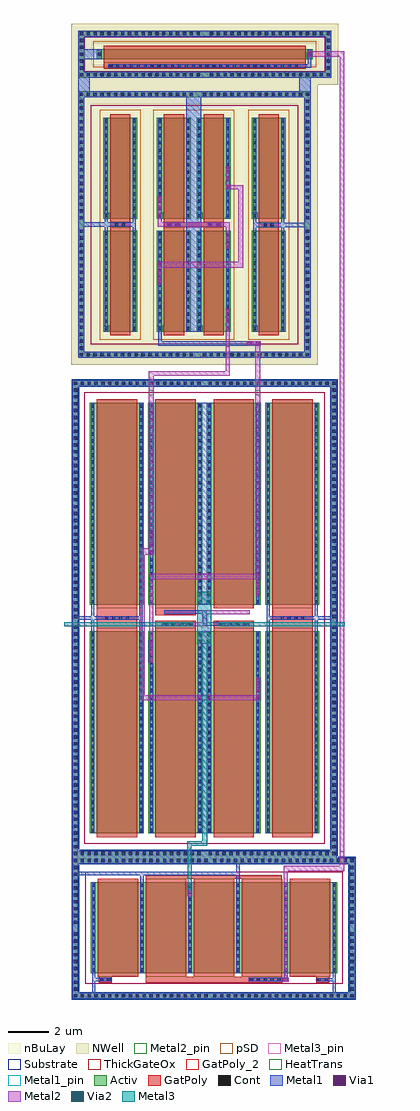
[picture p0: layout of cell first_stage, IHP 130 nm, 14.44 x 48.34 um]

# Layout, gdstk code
from math import pi, radians
import gdstk
lib = gdstk.Library(unit=1e-6, precision=1e-09)
def R(c, l, rs):  # rectangles x0, y0, x1, y1
    for r in rs: c.add(gdstk.rectangle(r[:2], r[2:], *l))
def A(c, l, x, y, w, h, nx, ny, dx, dy):  # array of equal rectangles
    R(c, l, [(x+i*dx, y+j*dy, x+i*dx+w, y+j*dy+h) for i in range(nx) for j in range(ny)])
def P(c, l, *ps):  # polygons
    for p in ps: c.add(gdstk.Polygon(p, *l))
Activ = (1, 0)
GatPoly = (5, 0)
GatPoly_2 = (5, 2)
Cont = (6, 0)
Metal1 = (8, 0)
Metal1_pin = (8, 2)
Metal2 = (10, 0)
Metal2_pin = (10, 2)
pSD = (14, 0)
Via1 = (19, 0)
Via2 = (29, 0)
Metal3 = (30, 0)
Metal3_pin = (30, 2)
NWell = (31, 0)
nBuLay = (32, 0)
Substrate = (40, 0)
ThickGateOx = (44, 0)
HeatTrans = (51, 0)

pmoshv_1_1 = lib.new_cell('pmosHV$1$1')
R(pmoshv_1_1, Activ, [(0,0,0.3,0.3), (0,0,1.68,5), (1.38,0,1.68,0.3)])
R(pmoshv_1_1, GatPoly, [(0.34,-0.18,1.34,5.18)])
R(pmoshv_1_1, GatPoly_2, [(0.34,-0.18,1.34,5.18)])
A(pmoshv_1_1, Cont, 0.07, 0.07, 0.16, 0.16, 1, 4, 0, 0.36)
A(pmoshv_1_1, Cont, 1.45, 0.07, 0.16, 0.16, 1, 4, 0, 0.36)
A(pmoshv_1_1, Cont, 0.07, 1.515, 0.16, 0.16, 1, 3, 0, 0.36)
A(pmoshv_1_1, Cont, 1.45, 1.515, 0.16, 0.16, 1, 3, 0, 0.36)
A(pmoshv_1_1, Cont, 0.07, 2.6, 0.16, 0.16, 1, 3, 0, 0.36)
A(pmoshv_1_1, Cont, 1.45, 2.6, 0.16, 0.16, 1, 3, 0, 0.36)
A(pmoshv_1_1, Cont, 0.07, 3.685, 0.16, 0.16, 1, 3, 0, 0.36)
A(pmoshv_1_1, Cont, 1.45, 3.685, 0.16, 0.16, 1, 3, 0, 0.36)
R(pmoshv_1_1, Cont, [(0.07,4.77,0.23,4.93), (1.45,4.77,1.61,4.93)])
R(pmoshv_1_1, Metal1, [(0.07,0,0.23,5), (1.45,0,1.61,5)])
R(pmoshv_1_1, Metal1_pin, [(0.07,0,0.23,5), (1.45,0,1.61,5)])
R(pmoshv_1_1, pSD, [(-0.18,-0.4,1.86,5.4)])
R(pmoshv_1_1, NWell, [(-0.62,-0.62,2.3,5.62)])
R(pmoshv_1_1, Substrate, [(1.38,0,1.68,0.3)])
R(pmoshv_1_1, ThickGateOx, [(-0.62,-0.62,2.3,5.62)])
R(pmoshv_1_1, HeatTrans, [(0.34,-0.18,1.34,5.18)])
pmoshv_1_1.add(gdstk.Label('pmosHV', (0.84,2.5), layer=63, texttype=0))
pmoshv_1_1.add(gdstk.Label('pmos', (0.84,2.5), layer=51, texttype=0))

via_stack_7_1 = lib.new_cell('via_stack$7$1')
R(via_stack_7_1, Metal1, [(-0.105,-0.555,0.105,0.555)])
R(via_stack_7_1, Metal2, [(-0.1,-0.555,0.1,0.555)])
A(via_stack_7_1, Via1, -0.095, -0.505, 0.19, 0.19, 1, 3, 0, 0.41)

via_stack_18_1 = lib.new_cell('via_stack$18$1')
R(via_stack_18_1, Metal1, [(-0.105,-0.35,0.105,0.35)])
R(via_stack_18_1, Metal2, [(-0.1,-0.35,0.1,0.35)])
R(via_stack_18_1, Via1, [(-0.095,-0.3,0.095,-0.11), (-0.095,0.11,0.095,0.3)])

via_stack_9_1 = lib.new_cell('via_stack$9$1')
R(via_stack_9_1, GatPoly, [(-0.32,-0.15,0.32,0.15)])
R(via_stack_9_1, Cont, [(-0.25,-0.08,-0.09,0.08), (0.09,-0.08,0.25,0.08)])
R(via_stack_9_1, Metal1, [(-0.35,-0.105,0.35,0.105)])
R(via_stack_9_1, Metal2, [(-0.35,-0.1,0.35,0.1)])
R(via_stack_9_1, Via1, [(-0.3,-0.095,-0.11,0.095), (0.11,-0.095,0.3,0.095)])

guard_ring_3_1 = lib.new_cell('guard_ring$3$1')
R(guard_ring_3_1, Activ, [(-5.75,-6.3,-5.45,6.3), (5.45,-6.3,5.75,6.3), (-5.75,6.3,5.75,6.6)])
P(guard_ring_3_1, Activ, [(-5.75,-6.6),(-5.75,6.3),(-5.45,6.3),(-5.45,-6.3),(5.45,-6.3),(5.45,6.3),(-5.75,6.3),(-5.75,6.6),(5.75,6.6),(5.75,-6.6)])
A(guard_ring_3_1, Cont, -5.68, -6.53, 0.16, 0.16, 16, 2, 0.34, 12.9)
A(guard_ring_3_1, Cont, 0.08, -6.53, 0.16, 0.16, 17, 2, 0.34, 12.9)
A(guard_ring_3_1, Cont, -5.68, -6.19, 0.16, 0.16, 1, 18, 0, 0.34)
A(guard_ring_3_1, Cont, 5.52, -6.19, 0.16, 0.16, 1, 18, 0, 0.34)
A(guard_ring_3_1, Cont, -5.68, 0.25, 0.16, 0.16, 1, 18, 0, 0.34)
A(guard_ring_3_1, Cont, 5.52, 0.25, 0.16, 0.16, 1, 18, 0, 0.34)
R(guard_ring_3_1, Metal1, [(-5.75,-6.6,5.75,-6.3), (-5.75,-6.3,-5.45,6.3), (5.45,-6.3,5.75,6.3), (-5.75,6.3,5.75,6.6)])
R(guard_ring_3_1, NWell, [(-6.1,-6.95,6.1,6.95)])
R(guard_ring_3_1, nBuLay, [(-6.1,-5.95,-5.1,5.95), (5.1,-5.95,6.1,5.95), (-6.1,5.95,6.1,6.95)])
P(guard_ring_3_1, nBuLay, [(-6.1,-6.95),(-6.1,5.95),(-5.1,5.95),(-5.1,-5.95),(5.1,-5.95),(5.1,5.95),(-6.1,5.95),(-6.1,6.95),(6.1,6.95),(6.1,-6.95)])
guard_ring_3_1.add(gdstk.Label('well', (0,-6.45), layer=63, texttype=0))

via_stack_5_1 = lib.new_cell('via_stack$5$1')
R(via_stack_5_1, GatPoly, [(-0.32,-0.15,0.32,0.15)])
R(via_stack_5_1, Cont, [(-0.25,-0.08,-0.09,0.08), (0.09,-0.08,0.25,0.08)])
R(via_stack_5_1, Metal1, [(-0.3,-0.08,0.3,0.08)])

current_mirror = lib.new_cell('current_mirror')
R(current_mirror, GatPoly, [(-2.885,-0.54,-1.885,-0.315), (-0.225,-0.54,2.745,-0.315), (4.475,-0.54,5.475,-0.315)])
R(current_mirror, Metal1, [(0.885,-5.72,1.635,6.185), (-3.155,-0.72,-2.995,-0.135), (-1.775,-0.72,-1.615,-0.135), (4.205,-0.72,4.365,-0.135), (5.585,-0.72,5.745,-0.135), (4.205,-0.54,7.04,-0.32), (-4.46,-0.535,-1.615,-0.315)])
R(current_mirror, Metal2, [(2.845,-6.475,3.045,-4.575), (-0.535,-2.565,3.705,-2.255), (3.47,-2.565,3.705,1.53), (2.845,-1.62,3.045,-0.315), (-0.53,-0.535,3.045,-0.315), (-0.53,-0.535,-0.33,-0.13), (2.845,1.325,3.705,1.53)])
R(current_mirror, Metal2_pin, [(2.845,-6.475,3.045,-6.215)])
current_mirror.add(gdstk.Reference(pmoshv_1_1, (3.085,-0.135), rotation=pi, x_reflection=True))
current_mirror.add(gdstk.Reference(pmoshv_1_1, (1.115,-0.135), rotation=pi, x_reflection=True))
current_mirror.add(gdstk.Reference(pmoshv_1_1, (3.085,-5.72), rotation=pi, x_reflection=True))
current_mirror.add(gdstk.Reference(pmoshv_1_1, (1.115,-5.72), rotation=pi, x_reflection=True))
current_mirror.add(gdstk.Reference(via_stack_7_1, (-0.43,0.425), rotation=pi, x_reflection=True))
current_mirror.add(gdstk.Reference(via_stack_18_1, (2.945,-1.27), rotation=pi, x_reflection=True))
current_mirror.add(gdstk.Reference(via_stack_9_1, (2.27,-0.43), rotation=pi, x_reflection=True))
current_mirror.add(gdstk.Reference(via_stack_9_1, (0.26,-0.43), rotation=pi, x_reflection=True))
current_mirror.add(gdstk.Reference(via_stack_7_1, (-0.43,-2.81), rotation=pi, x_reflection=True))
current_mirror.add(gdstk.Reference(via_stack_7_1, (2.945,1.88), rotation=pi, x_reflection=True))
current_mirror.add(gdstk.Reference(guard_ring_3_1, (1.29,-0.415), rotation=pi, x_reflection=True))
current_mirror.add(gdstk.Reference(pmoshv_1_1, (-1.545,-0.135), rotation=pi, x_reflection=True))
current_mirror.add(gdstk.Reference(pmoshv_1_1, (5.815,-0.135), rotation=pi, x_reflection=True))
current_mirror.add(gdstk.Reference(pmoshv_1_1, (-1.545,-5.72), rotation=pi, x_reflection=True))
current_mirror.add(gdstk.Reference(pmoshv_1_1, (5.815,-5.72), rotation=pi, x_reflection=True))
current_mirror.add(gdstk.Reference(via_stack_5_1, (4.965,-0.43), rotation=pi, x_reflection=True))
current_mirror.add(gdstk.Reference(via_stack_5_1, (-2.395,-0.43), rotation=pi, x_reflection=True))
current_mirror.add(gdstk.Reference(via_stack_7_1, (2.945,-5.13), rotation=pi, x_reflection=True))
current_mirror.add(gdstk.Label('vdd', (1.025,6.115), layer=8, texttype=2))
current_mirror.add(gdstk.Label('dmv', (3.045,-6.475), layer=10, texttype=2))

via_stack_35 = lib.new_cell('via_stack$35')
R(via_stack_35, GatPoly, [(-0.15,-0.66,0.15,0.66)])
A(via_stack_35, Cont, -0.08, -0.59, 0.16, 0.16, 1, 4, 0, 0.34)
R(via_stack_35, Metal1, [(-0.105,-0.76,0.105,0.76)])
R(via_stack_35, Metal2, [(-0.1,-0.76,0.1,0.76)])
A(via_stack_35, Via1, -0.095, -0.71, 0.19, 0.19, 1, 4, 0, 0.41)
A(via_stack_35, Via2, -0.095, -0.71, 0.19, 0.19, 1, 4, 0, 0.41)
R(via_stack_35, Metal3, [(-0.1,-0.76,0.1,0.76)])

guard_ring_11 = lib.new_cell('guard_ring$11')
R(guard_ring_11, Activ, [(-6.55,-11.5,-6.25,11.5), (6.25,-11.5,6.55,11.5), (-6.55,11.5,6.55,11.8)])
P(guard_ring_11, Activ, [(-6.55,-11.8),(-6.55,11.5),(-6.25,11.5),(-6.25,-11.5),(6.25,-11.5),(6.25,11.5),(-6.55,11.5),(-6.55,11.8),(6.55,11.8),(6.55,-11.8)])
A(guard_ring_11, Cont, -6.48, -11.73, 0.16, 0.16, 19, 2, 0.34, 23.3)
A(guard_ring_11, Cont, 0.2, -11.73, 0.16, 0.16, 19, 2, 0.34, 23.3)
A(guard_ring_11, Cont, -6.48, -11.39, 0.16, 0.16, 1, 33, 0, 0.34)
A(guard_ring_11, Cont, 6.32, -11.39, 0.16, 0.16, 1, 33, 0, 0.34)
A(guard_ring_11, Cont, -6.48, 0.01, 0.16, 0.16, 1, 34, 0, 0.34)
A(guard_ring_11, Cont, 6.32, 0.01, 0.16, 0.16, 1, 34, 0, 0.34)
R(guard_ring_11, Metal1, [(-6.55,-11.8,6.55,-11.5), (-6.55,-11.5,-6.25,11.5), (6.25,-11.5,6.55,11.5), (-6.55,11.5,6.55,11.8)])
R(guard_ring_11, pSD, [(-6.58,-11.47,-6.22,11.47), (6.22,-11.47,6.58,11.47), (-6.58,11.47,6.58,11.83)])
P(guard_ring_11, pSD, [(-6.58,-11.83),(-6.58,11.47),(-6.22,11.47),(-6.22,-11.47),(6.22,-11.47),(6.22,11.47),(-6.58,11.47),(-6.58,11.83),(6.58,11.83),(6.58,-11.83)])
R(guard_ring_11, Substrate, [(-6.58,-11.47,-6.22,11.47), (6.22,-11.47,6.58,11.47), (-6.58,11.47,6.58,11.83)])
P(guard_ring_11, Substrate, [(-6.58,-11.83),(-6.58,11.47),(-6.22,11.47),(-6.22,-11.47),(6.22,-11.47),(6.22,11.47),(-6.58,11.47),(-6.58,11.83),(6.58,11.83),(6.58,-11.83)])
guard_ring_11.add(gdstk.Label('sub!', (0,-11.65), layer=63, texttype=0))

via_stack_2_1 = lib.new_cell('via_stack$2$1')
R(via_stack_2_1, GatPoly, [(-0.66,-0.15,0.66,0.15)])
A(via_stack_2_1, Cont, -0.59, -0.08, 0.16, 0.16, 4, 1, 0.34, 0)
R(via_stack_2_1, Metal1, [(-0.64,-0.08,0.64,0.08)])

nmoshv_1_1 = lib.new_cell('nmosHV$1$1')
R(nmoshv_1_1, Activ, [(0,0,0.3,0.3), (0,0,2.68,10), (2.38,0,2.68,0.3)])
R(nmoshv_1_1, GatPoly, [(0.34,-0.18,2.34,10.18)])
R(nmoshv_1_1, GatPoly_2, [(0.34,-0.18,2.34,10.18)])
A(nmoshv_1_1, Cont, 0.07, 0.07, 0.16, 0.16, 1, 4, 0, 0.345)
A(nmoshv_1_1, Cont, 2.45, 0.07, 0.16, 0.16, 1, 4, 0, 0.345)
A(nmoshv_1_1, Cont, 0.07, 1.455, 0.16, 0.16, 1, 3, 0, 0.345)
A(nmoshv_1_1, Cont, 2.45, 1.455, 0.16, 0.16, 1, 3, 0, 0.345)
A(nmoshv_1_1, Cont, 0.07, 2.495, 0.16, 0.16, 1, 4, 0, 0.345)
A(nmoshv_1_1, Cont, 2.45, 2.495, 0.16, 0.16, 1, 4, 0, 0.345)
A(nmoshv_1_1, Cont, 0.07, 3.88, 0.16, 0.16, 1, 3, 0, 0.345)
A(nmoshv_1_1, Cont, 2.45, 3.88, 0.16, 0.16, 1, 3, 0, 0.345)
A(nmoshv_1_1, Cont, 0.07, 4.92, 0.16, 0.16, 1, 4, 0, 0.345)
A(nmoshv_1_1, Cont, 2.45, 4.92, 0.16, 0.16, 1, 4, 0, 0.345)
A(nmoshv_1_1, Cont, 0.07, 6.305, 0.16, 0.16, 1, 3, 0, 0.345)
A(nmoshv_1_1, Cont, 2.45, 6.305, 0.16, 0.16, 1, 3, 0, 0.345)
A(nmoshv_1_1, Cont, 0.07, 7.345, 0.16, 0.16, 1, 4, 0, 0.345)
A(nmoshv_1_1, Cont, 2.45, 7.345, 0.16, 0.16, 1, 4, 0, 0.345)
A(nmoshv_1_1, Cont, 0.07, 8.73, 0.16, 0.16, 1, 3, 0, 0.345)
A(nmoshv_1_1, Cont, 2.45, 8.73, 0.16, 0.16, 1, 3, 0, 0.345)
R(nmoshv_1_1, Cont, [(0.07,9.77,0.23,9.93), (2.45,9.77,2.61,9.93)])
R(nmoshv_1_1, Metal1, [(0.07,0,0.23,10), (2.45,0,2.61,10)])
R(nmoshv_1_1, Metal1_pin, [(0.07,0,0.23,10), (2.45,0,2.61,10)])
R(nmoshv_1_1, ThickGateOx, [(-0.27,-0.52,2.95,10.52)])
R(nmoshv_1_1, HeatTrans, [(0.34,-0.18,2.34,10.18)])
nmoshv_1_1.add(gdstk.Label('nmosHV', (1.34,5), layer=63, texttype=0))
nmoshv_1_1.add(gdstk.Label('nmosHV', (1.34,5), layer=51, texttype=0))

via_stack_4_1 = lib.new_cell('via_stack$4$1')
R(via_stack_4_1, Metal1, [(-0.35,-0.31,0.35,0.31)])
R(via_stack_4_1, Metal2, [(-0.35,-0.305,0.35,0.305)])
R(via_stack_4_1, Via1, [(-0.3,-0.3,-0.11,-0.11), (0.11,-0.3,0.3,-0.11), (-0.3,0.11,-0.11,0.3), (0.11,0.11,0.3,0.3)])
R(via_stack_4_1, Via2, [(-0.3,-0.3,-0.11,-0.11), (0.11,-0.3,0.3,-0.11), (-0.3,0.11,-0.11,0.3), (0.11,0.11,0.3,0.3)])
R(via_stack_4_1, Metal3, [(-0.35,-0.305,0.35,0.305)])

via_stack_36 = lib.new_cell('via_stack$36')
R(via_stack_36, GatPoly, [(-0.66,-0.15,0.66,0.15)])
A(via_stack_36, Cont, -0.59, -0.08, 0.16, 0.16, 4, 1, 0.34, 0)
R(via_stack_36, Metal1, [(-0.76,-0.105,0.76,0.105)])
R(via_stack_36, Metal2, [(-0.76,-0.1,0.76,0.1)])
A(via_stack_36, Via1, -0.71, -0.095, 0.19, 0.19, 4, 1, 0.41, 0)
A(via_stack_36, Via2, -0.71, -0.095, 0.19, 0.19, 4, 1, 0.41, 0)
R(via_stack_36, Metal3, [(-0.76,-0.1,0.76,0.1)])

diff_pairs = lib.new_cell('diff_pairs')
R(diff_pairs, GatPoly, [(-1.775,10.885,0.225,11.85), (1.125,10.885,3.125,11.225), (4.015,10.885,6.015,11.225), (6.915,10.885,8.915,11.85), (4.015,10.9,6.015,11.24), (4.01,11.51,6.01,11.85)])
R(diff_pairs, Metal1, [(3.235,0.705,3.905,10.705), (-2.045,10.705,-1.885,12.03), (0.335,10.705,0.495,12.03), (6.645,10.705,6.805,12.03), (9.025,10.705,9.185,12.03), (3.465,10.97,3.66,11.745), (1.36,10.995,3.66,11.155), (-2.935,11.295,-2.045,11.455), (-2.045,11.295,0.495,11.455), (6.645,11.295,7.265,11.455), (8.545,11.295,9.185,11.455), (9.185,11.295,10.065,11.455), (3.465,11.575,5.575,11.755), (3.235,12.03,3.905,22.03)])
R(diff_pairs, Metal2, [(0.81,7.31,1.03,7.545), (0.815,7.31,6.73,7.545), (6.53,7.31,6.73,14.82), (6.12,10.03,6.32,13.56), (3.445,10.97,5.685,11.17), (3.445,10.97,3.685,11.765), (1.34,11.565,3.685,11.765), (0.805,13.3,1.065,22.66), (0.805,13.3,6.32,13.56), (6.09,14.5,6.335,22.64), (6.12,14.5,6.73,14.82)])
R(diff_pairs, Metal2_pin, [(0.805,22.405,1.065,22.66), (6.09,22.405,6.335,22.64)])
R(diff_pairs, Metal3, [(3.235,10.09,3.935,12.665), (4.275,10.96,10.52,11.17), (-3.375,10.97,2.88,11.17)])
R(diff_pairs, Metal3_pin, [(3.4,10.715,3.73,10.915), (-3.375,10.97,-3.09,11.17)])
R(diff_pairs, ThickGateOx, [(-2.385,10.55,9.525,12.26)])
diff_pairs.add(gdstk.Reference(via_stack_35, (2.12,11.07), rotation=pi/2))
diff_pairs.add(gdstk.Reference(guard_ring_11, (3.565,11.355)))
diff_pairs.add(gdstk.Reference(via_stack_2_1, (7.905,11.375)))
diff_pairs.add(gdstk.Reference(via_stack_2_1, (-0.785,11.375)))
diff_pairs.add(gdstk.Reference(nmoshv_1_1, (-2.115,0.705)))
diff_pairs.add(gdstk.Reference(nmoshv_1_1, (-2.115,12.03)))
diff_pairs.add(gdstk.Reference(nmoshv_1_1, (6.575,0.705)))
diff_pairs.add(gdstk.Reference(nmoshv_1_1, (6.575,12.025)))
diff_pairs.add(gdstk.Reference(nmoshv_1_1, (3.675,12.03)))
diff_pairs.add(gdstk.Reference(via_stack_7_1, (6.22,15.055)))
diff_pairs.add(gdstk.Reference(via_stack_7_1, (0.915,7.865)))
diff_pairs.add(gdstk.Reference(via_stack_7_1, (6.22,9.705)))
diff_pairs.add(gdstk.Reference(via_stack_7_1, (0.935,13.03)))
diff_pairs.add(gdstk.Reference(via_stack_4_1, (3.585,10.395)))
diff_pairs.add(gdstk.Reference(via_stack_4_1, (3.585,12.36)))
diff_pairs.add(gdstk.Reference(via_stack_36, (4.925,11.065), rotation=pi))
diff_pairs.add(gdstk.Reference(nmoshv_1_1, (0.785,0.705)))
diff_pairs.add(gdstk.Reference(nmoshv_1_1, (3.675,0.705)))
diff_pairs.add(gdstk.Reference(nmoshv_1_1, (0.785,12.03)))
diff_pairs.add(gdstk.Label('vss', (3.925,23.09), layer=8, texttype=2))
diff_pairs.add(gdstk.Label('dmr', (0.88,22.66), layer=10, texttype=2))
diff_pairs.add(gdstk.Label('dmv', (6.21,22.64), layer=10, texttype=2))
diff_pairs.add(gdstk.Label('vn1v2', (-3.315,11.02), layer=30, texttype=2))
diff_pairs.add(gdstk.Label('d_t', (3.46,10.915), layer=30, texttype=2))

via_stack_16 = lib.new_cell('via_stack$16')
R(via_stack_16, Metal1, [(-0.145,-0.105,0.145,0.105)])
R(via_stack_16, Metal2, [(-0.145,-0.1,0.145,0.1)])
R(via_stack_16, Via1, [(-0.095,-0.095,0.095,0.095)])

guard_ring_1_1 = lib.new_cell('guard_ring$1$1')
R(guard_ring_1_1, Activ, [(-7,-3.2,-6.7,3.2), (6.7,-3.2,7,3.2), (-7,3.2,7,3.5)])
P(guard_ring_1_1, Activ, [(-7,-3.5),(-7,3.2),(-6.7,3.2),(-6.7,-3.2),(6.7,-3.2),(6.7,3.2),(-7,3.2),(-7,3.5),(7,3.5),(7,-3.5)])
A(guard_ring_1_1, Cont, -6.93, -3.43, 0.16, 0.16, 20, 2, 0.34, 6.7)
A(guard_ring_1_1, Cont, -0.03, -3.43, 0.16, 0.16, 21, 2, 0.34, 6.7)
A(guard_ring_1_1, Cont, -6.93, -3.09, 0.16, 0.16, 1, 9, 0, 0.34)
A(guard_ring_1_1, Cont, 6.77, -3.09, 0.16, 0.16, 1, 9, 0, 0.34)
A(guard_ring_1_1, Cont, -6.93, 0.21, 0.16, 0.16, 1, 9, 0, 0.34)
A(guard_ring_1_1, Cont, 6.77, 0.21, 0.16, 0.16, 1, 9, 0, 0.34)
R(guard_ring_1_1, Metal1, [(-7,-3.5,7,-3.2), (-7,-3.2,-6.7,3.2), (6.7,-3.2,7,3.2), (-7,3.2,7,3.5)])
R(guard_ring_1_1, pSD, [(-7.03,-3.17,-6.67,3.17), (6.67,-3.17,7.03,3.17), (-7.03,3.17,7.03,3.53)])
P(guard_ring_1_1, pSD, [(-7.03,-3.53),(-7.03,3.17),(-6.67,3.17),(-6.67,-3.17),(6.67,-3.17),(6.67,3.17),(-7.03,3.17),(-7.03,3.53),(7.03,3.53),(7.03,-3.53)])
R(guard_ring_1_1, Substrate, [(-7.03,-3.17,-6.67,3.17), (6.67,-3.17,7.03,3.17), (-7.03,3.17,7.03,3.53)])
P(guard_ring_1_1, Substrate, [(-7.03,-3.53),(-7.03,3.17),(-6.67,3.17),(-6.67,-3.17),(6.67,-3.17),(6.67,3.17),(-7.03,3.17),(-7.03,3.53),(7.03,3.53),(7.03,-3.53)])
guard_ring_1_1.add(gdstk.Label('sub!', (0,-3.35), layer=63, texttype=0))

via_stack_25 = lib.new_cell('via_stack$25')
R(via_stack_25, Metal1, [(-0.145,-0.105,0.145,0.105)])
R(via_stack_25, Metal2, [(-0.145,-0.1,0.145,0.1)])
R(via_stack_25, Via1, [(-0.095,-0.095,0.095,0.095)])
R(via_stack_25, Via2, [(-0.095,-0.095,0.095,0.095)])
R(via_stack_25, Metal3, [(-0.145,-0.1,0.145,0.1)])

via_stack_17 = lib.new_cell('via_stack$17')
R(via_stack_17, GatPoly, [(-0.83,-0.15,0.83,0.15)])
A(via_stack_17, Cont, -0.76, -0.08, 0.16, 0.16, 5, 1, 0.34, 0)
R(via_stack_17, Metal1, [(-0.81,-0.08,0.81,0.08)])

nmoshv_5_1 = lib.new_cell('nmosHV$5$1')
A(nmoshv_5_1, Activ, 0, 0, 0.3, 0.3, 6, 1, 2.38, 0)
R(nmoshv_5_1, Activ, [(0,0,12.2,4.5)])
A(nmoshv_5_1, GatPoly, 0.34, -0.18, 2, 4.86, 5, 1, 2.38, 0)
R(nmoshv_5_1, GatPoly_2, [(0.34,-0.18,2.34,4.68)])
A(nmoshv_5_1, Cont, 0.07, 0.07, 0.16, 0.16, 6, 13, 2.38, 0.35)
A(nmoshv_5_1, Metal1, 0.07, 0, 0.16, 4.5, 6, 1, 2.38, 0)
R(nmoshv_5_1, Metal1_pin, [(0.07,0,0.23,4.5), (2.45,0,2.61,4.5)])
R(nmoshv_5_1, ThickGateOx, [(-0.27,-0.52,12.47,5.02)])
A(nmoshv_5_1, HeatTrans, 0.34, -0.18, 2, 4.86, 5, 1, 2.38, 0)
nmoshv_5_1.add(gdstk.Label('nmosHV', (1.34,2.25), layer=63, texttype=0))
nmoshv_5_1.add(gdstk.Label('nmosHV', (1.34,2.25), layer=51, texttype=0))
nmoshv_5_1.add(gdstk.Label('nmosHV', (3.72,2.25), layer=51, texttype=0))
nmoshv_5_1.add(gdstk.Label('nmosHV', (6.1,2.25), layer=51, texttype=0))
nmoshv_5_1.add(gdstk.Label('nmosHV', (8.48,2.25), layer=51, texttype=0))
nmoshv_5_1.add(gdstk.Label('nmosHV', (10.86,2.25), layer=51, texttype=0))

bias_cur = lib.new_cell('bias_cur')
R(bias_cur, GatPoly, [(3.235,-0.23,9.995,0.07), (11.68,0.04,12.32,0.09), (3.235,4.93,9.975,5.085)])
R(bias_cur, Metal1, [(0.585,-1.03,0.745,0.255), (12.485,-1.03,12.645,0.255), (10.105,-0.18,10.265,0.48), (12.3,-0.16,12.645,0), (0.585,-0.155,0.92,0.005), (9.955,-0.155,10.245,0.005), (7.725,4.675,7.885,5.26), (2.965,4.68,3.125,5.26), (-0.395,5.1,7.865,5.26), (7.72,5.26,7.885,5.97)])
R(bias_cur, Metal2, [(10.065,-0.185,10.265,5.56), (5.295,4.065,5.55,4.75), (10.065,5.29,12.855,5.56), (12.855,5.29,13.055,6.285)])
R(bias_cur, Metal2_pin, [(12.855,6.015,13.055,6.285)])
R(bias_cur, Metal3, [(5.325,4.375,5.525,6.3)])
R(bias_cur, Metal3_pin, [(5.325,6.015,5.525,6.3)])
bias_cur.add(gdstk.Reference(via_stack_16, (10.165,-0.08)))
bias_cur.add(gdstk.Reference(guard_ring_1_1, (6.605,2.47)))
bias_cur.add(gdstk.Reference(via_stack_25, (5.425,4.55), rotation=pi/2))
bias_cur.add(gdstk.Reference(via_stack_5_1, (12,-0.08)))
bias_cur.add(gdstk.Reference(via_stack_17, (9.15,-0.075)))
bias_cur.add(gdstk.Reference(via_stack_5_1, (1.22,-0.075)))
bias_cur.add(gdstk.Reference(nmoshv_5_1, (0.515,0.25)))
bias_cur.add(gdstk.Label('vss', (7.415,5.9), layer=8, texttype=2))
bias_cur.add(gdstk.Label('d_t', (5.325,6.015), layer=44, texttype=0))
bias_cur.add(gdstk.Label('i_ref', (13.055,6.29), layer=10, texttype=2))
bias_cur.add(gdstk.Label('d_t', (5.325,6.015), layer=30, texttype=2))

via_stack_14 = lib.new_cell('via_stack$14')
R(via_stack_14, GatPoly, [(-4.74,-0.15,4.74,0.15)])
A(via_stack_14, Cont, -4.67, -0.08, 0.16, 0.16, 28, 1, 0.34, 0)
R(via_stack_14, Metal1, [(-4.72,-0.08,4.72,0.08)])

pmoshv_2 = lib.new_cell('pmosHV$2')
R(pmoshv_2, Activ, [(-0.92,-0.62,-0.62,1.12), (11.3,-0.62,11.6,1.12), (0,0,0.3,0.3), (0,0,10.68,0.5), (10.38,0,10.68,0.3), (-0.92,1.12,11.6,1.42)])
P(pmoshv_2, Activ, [(-0.92,-0.92),(-0.92,1.12),(-0.62,1.12),(-0.62,-0.62),(11.3,-0.62),(11.3,1.12),(-0.92,1.12),(-0.92,1.42),(11.6,1.42),(11.6,-0.92)])
R(pmoshv_2, GatPoly, [(0.34,-0.18,10.34,0.68)])
R(pmoshv_2, GatPoly_2, [(0.34,-0.18,10.34,0.68)])
A(pmoshv_2, Cont, -0.85, -0.85, 0.16, 0.16, 18, 2, 0.34, 2.04)
A(pmoshv_2, Cont, 5.59, -0.85, 0.16, 0.16, 18, 2, 0.34, 2.04)
A(pmoshv_2, Cont, -0.85, -0.51, 0.16, 0.16, 1, 5, 0, 0.34)
A(pmoshv_2, Cont, 11.37, -0.51, 0.16, 0.16, 1, 5, 0, 0.34)
R(pmoshv_2, Cont, [(0.07,0.17,0.23,0.33), (10.45,0.17,10.61,0.33)])
R(pmoshv_2, Metal1, [(-0.92,-0.92,11.6,-0.62), (-0.92,-0.62,-0.62,1.12), (11.3,-0.62,11.6,1.12), (0.07,0,0.23,0.5), (10.45,0,10.61,0.5), (-0.92,1.12,11.6,1.42)])
R(pmoshv_2, Metal1_pin, [(0.07,0,0.23,0.5), (10.45,0,10.61,0.5)])
R(pmoshv_2, pSD, [(-0.18,-0.4,10.86,0.9)])
R(pmoshv_2, NWell, [(-1.27,-1.27,11.95,1.77), (-0.62,-0.62,11.3,1.12)])
R(pmoshv_2, nBuLay, [(-1.27,-0.27,-0.27,0.77), (10.95,-0.27,11.95,0.77), (-1.27,0.77,11.95,1.77)])
P(pmoshv_2, nBuLay, [(-1.27,-1.27),(-1.27,0.77),(-0.27,0.77),(-0.27,-0.27),(10.95,-0.27),(10.95,0.77),(-1.27,0.77),(-1.27,1.77),(11.95,1.77),(11.95,-1.27)])
R(pmoshv_2, Substrate, [(10.38,0,10.68,0.3)])
R(pmoshv_2, ThickGateOx, [(-0.62,-0.62,11.3,1.12)])
R(pmoshv_2, HeatTrans, [(0.34,-0.18,10.34,0.68)])
pmoshv_2.add(gdstk.Label('pmosHV', (5.34,0.25), layer=63, texttype=0))
pmoshv_2.add(gdstk.Label('well', (5.34,-0.77), layer=63, texttype=0))
pmoshv_2.add(gdstk.Label('pmos', (5.34,0.25), layer=51, texttype=0))

connected_diode = lib.new_cell('connected_diode')
R(connected_diode, GatPoly, [(-0.21,-0.72,9.79,-0.42)])
R(connected_diode, Metal1, [(9.305,-0.65,10.06,-0.49), (9.9,-0.65,10.06,-0.24), (-1.47,-0.245,-0.32,0.26)])
connected_diode.add(gdstk.Reference(via_stack_14, (4.73,-0.57)))
connected_diode.add(gdstk.Reference(pmoshv_2, (-0.55,-0.24)))

first_stage = lib.new_cell('first_stage')
R(first_stage, Activ, [(0.06,6.985,13.16,7.03)])
R(first_stage, Metal1, [(0.06,6.985,13.16,7.03), (4.315,32.34,9.39,32.55), (4.315,32.34,4.475,33.33), (11.285,44.635,11.85,45.83), (0.355,44.705,0.92,45.9)])
R(first_stage, Metal2, [(13.31,7.075,13.51,46.905), (3.84,29.87,4.085,30.835), (9.11,29.89,9.37,32.55), (3.84,30.835,7.855,31.06), (7.655,30.835,7.855,32.91), (11.725,46.64,13.48,46.905)])
R(first_stage, Metal3, [(5.75,7.075,5.95,7.78), (5.75,7.57,6.725,7.78), (6.48,7.57,6.725,17.76)])
first_stage.add(gdstk.Reference(current_mirror, (4.81,38.75)))
first_stage.add(gdstk.Reference(diff_pairs, (10.175,7.475), rotation=pi, x_reflection=True))
first_stage.add(gdstk.Reference(bias_cur, (0.455,1.015)))
first_stage.add(gdstk.Reference(connected_diode, (1.825,46.76)))
first_stage.add(gdstk.Reference(via_stack_16, (11.805,46.765), rotation=3*pi/2))
first_stage.add(gdstk.Reference(via_stack_18_1, (9.04,32.445), rotation=3*pi/2))

lib.write_gds('first_stage.gds')
